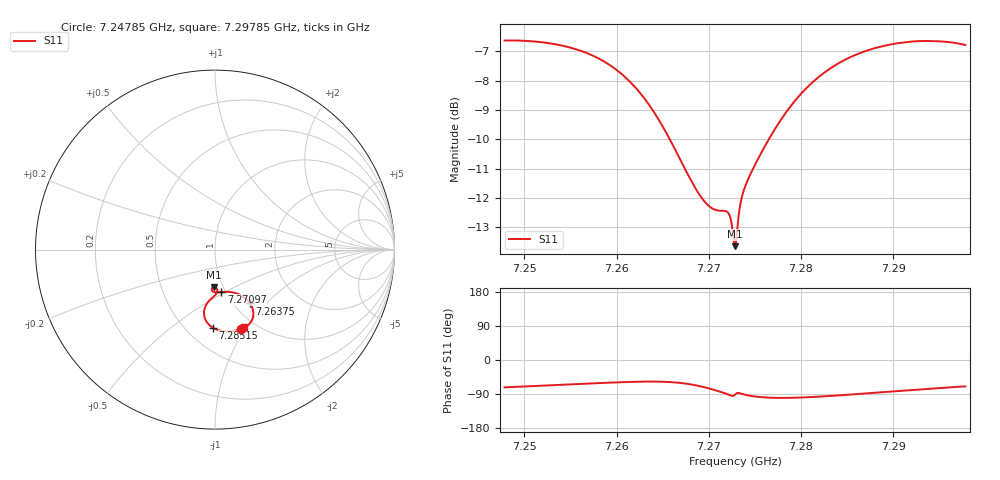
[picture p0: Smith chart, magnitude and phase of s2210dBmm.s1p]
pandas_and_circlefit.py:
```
from resonator_tools import circuit
import numpy as np
import pandas as pd

from _example_setup import data_path, ensure_repo_root_on_path

ensure_repo_root_on_path()

port1 = circuit.notch_port()
# port1 = circuit.reflection_port()
port1.add_froms2p(
    str(data_path("s2210dBmm.s1p")), 1, 2, "realimag", fdata_unit=1e9, delimiter=None
)
port1.GUIfit()
```
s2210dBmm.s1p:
#  HZ  S  MA  R  50.00
! Rohde & Schwarz Vector Network Analyzer
! Rohde-Schwarz,ZNB20-2Port,1311601062101564,3.50
! Created: UTC 4/2/2026, 6:06:57 AM
! freq[Hz]  mag:S22  ang:S22
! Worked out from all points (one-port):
!   2001 points, 7.24785 GHz to 7.29785 GHz, reference 50 ohm
!   lowest |S11| = -13.6 dB at 7.27285 GHz (marker M1), VSWR 1.52, Z = 45.5 - j19.8 ohm
!   |S11| at or under -10 dB: 7.265772 GHz to 7.27652 GHz (10.75 MHz wide, 0.148 % of centre)
!   S11 on the Smith chart (normalised r, x): 7.24785 GHz: 0.84, -0.95; 7.26375 GHz: 1.18, -0.81; 7.27097 GHz: 0.95, -0.48; 7.28515 GHz: 0.67, -0.72; 7.29785 GHz: 0.89, -0.96
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7.24785e9  0.466 -72.2
7.25745e9  0.4389 -61.6
7.26375e9  0.3577 -56.9
7.264525e9  0.3424 -57.1
7.268925e9  0.2553 -68.4
7.270975e9  0.2391 -81.6
7.272125e9  0.2367 -91.2
7.27285e9  0.2078 -91.2
7.27365e9  0.254 -89.9
7.274775e9  0.281 -95.6
7.2812e9  0.3947 -97.7
7.28515e9  0.4349 -91.7
7.2912e9  0.4626 -80.7
7.29785e9  0.4578 -69.7
